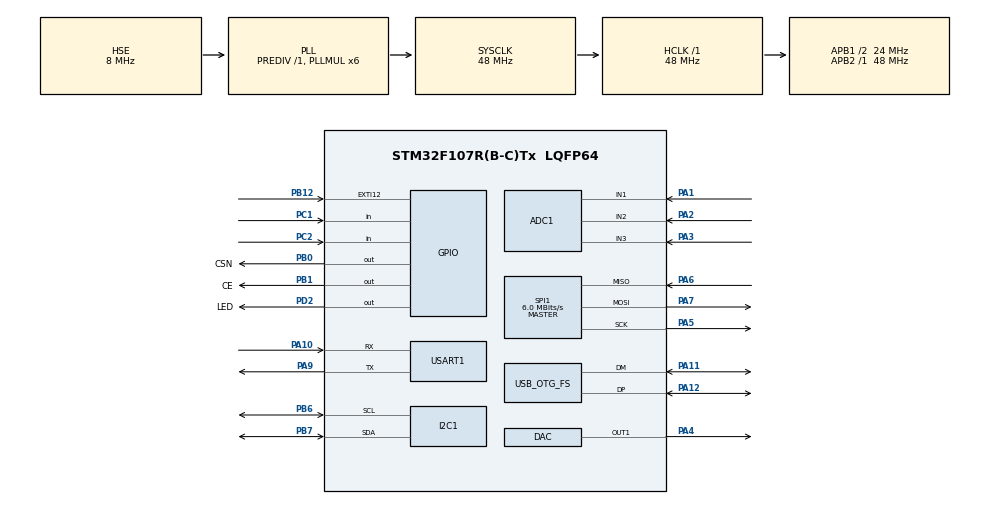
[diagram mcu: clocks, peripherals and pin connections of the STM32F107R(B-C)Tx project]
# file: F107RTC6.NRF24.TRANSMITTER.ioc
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ADC1.Channel-0\#ChannelRegularConversion=ADC_CHANNEL_1
ADC1.Channel-1\#ChannelRegularConversion=ADC_CHANNEL_2
ADC1.Channel-2\#ChannelRegularConversion=ADC_CHANNEL_3
ADC1.ContinuousConvMode=ENABLE
ADC1.DataAlign=ADC_DATAALIGN_RIGHT
ADC1.NbrOfConversion=3
ADC1.NbrOfConversionFlag=1
ADC1.Rank-0\#ChannelRegularConversion=1
ADC1.Rank-1\#ChannelRegularConversion=2
ADC1.Rank-2\#ChannelRegularConversion=3
ADC1.SamplingTime-0\#ChannelRegularConversion=ADC_SAMPLETIME_1CYCLE_5
ADC1.SamplingTime-1\#ChannelRegularConversion=ADC_SAMPLETIME_1CYCLE_5
ADC1.SamplingTime-2\#ChannelRegularConversion=ADC_SAMPLETIME_1CYCLE_5
ADC1.master=1
Dma.ADC1.0.Direction=DMA_PERIPH_TO_MEMORY
Dma.ADC1.0.Instance=DMA1_Channel1
Dma.ADC1.0.MemDataAlignment=DMA_MDATAALIGN_HALFWORD
Dma.ADC1.0.MemInc=DMA_MINC_ENABLE
Dma.ADC1.0.Mode=DMA_CIRCULAR
Dma.ADC1.0.PeriphDataAlignment=DMA_PDATAALIGN_HALFWORD
Dma.ADC1.0.PeriphInc=DMA_PINC_DISABLE
Dma.ADC1.0.Priority=DMA_PRIORITY_LOW
Dma.Request0=ADC1
Mcu.Family=STM32F1
Mcu.Name=STM32F107R(B-C)Tx
Mcu.Package=LQFP64
NVIC.ADC1_2_IRQn=true\:1\:0\:true\:false\:true\:true\:true\:true
NVIC.DMA1_Channel1_IRQn=true\:0\:0\:false\:false\:true\:false\:true\:true
NVIC.OTG_FS_IRQn=true\:0\:0\:false\:false\:true\:false\:true\:true
NVIC.PriorityGroup=NVIC_PRIORITYGROUP_4
NVIC.SPI1_IRQn=true\:0\:0\:false\:false\:true\:true\:true\:true
NVIC.TIM1_UP_IRQn=true\:15\:0\:false\:false\:true\:false\:true\:true
NVIC.TimeBase=TIM1_UP_IRQn
NVIC.TimeBaseIP=TIM1
NVIC.USART1_IRQn=true\:0\:0\:false\:false\:true\:true\:true\:true
PA1.Signal=ADCx_IN1
PA10.Mode=Asynchronous
PA10.Signal=USART1_RX
PA11.Mode=Device_Only
PA11.Signal=USB_OTG_FS_DM
PA12.Mode=Device_Only
PA12.Signal=USB_OTG_FS_DP
PA13.Mode=Serial_Wire
PA13.Signal=SYS_JTMS-SWDIO
PA14.Mode=Serial_Wire
PA14.Signal=SYS_JTCK-SWCLK
PA2.Signal=ADCx_IN2
PA3.Signal=ADCx_IN3
PA4.Signal=COMP_DAC1_group
PA5.Mode=Full_Duplex_Master
PA5.Signal=SPI1_SCK
PA6.Mode=Full_Duplex_Master
PA6.Signal=SPI1_MISO
PA7.Mode=Full_Duplex_Master
PA7.Signal=SPI1_MOSI
PA9.Mode=Asynchronous
PA9.Signal=USART1_TX
PB0.GPIO_Label=CSN
PB0.GPIO_Speed=GPIO_SPEED_FREQ_HIGH
PB0.Signal=GPIO_Output
PB1.GPIO_Label=CE
PB1.GPIO_Speed=GPIO_SPEED_FREQ_HIGH
PB1.Signal=GPIO_Output
PB12.GPIO_ModeDefaultEXTI=GPIO_MODE_IT_FALLING
PB12.Signal=GPXTI12
PB6.Mode=I2C
PB6.Signal=I2C1_SCL
PB7.Mode=I2C
PB7.Signal=I2C1_SDA
PC1.GPIO_PuPd=GPIO_PULLUP
PC1.Signal=GPIO_Input
PC14-OSC32_IN.Mode=LSE-External-Oscillator
PC14-OSC32_IN.Signal=RCC_OSC32_IN
PC15-OSC32_OUT.Mode=LSE-External-Oscillator
PC15-OSC32_OUT.Signal=RCC_OSC32_OUT
PC2.GPIO_PuPd=GPIO_PULLUP
PC2.Signal=GPIO_Input
PD0-OSC_IN.Mode=HSE-External-Oscillator
PD0-OSC_IN.Signal=RCC_OSC_IN
PD1-OSC_OUT.Mode=HSE-External-Oscillator
PD1-OSC_OUT.Signal=RCC_OSC_OUT
PD2.GPIO_Label=LED
PD2.PinState=GPIO_PIN_SET
PD2.Signal=GPIO_Output
ProjectManager.HeapSize=0x200
ProjectManager.StackSize=0x400
ProjectManager.TargetToolchain=STM32CubeIDE
RCC.ADCPresc=RCC_ADCPCLK2_DIV4
RCC.AHBFreq_Value=48000000
RCC.APB1CLKDivider=RCC_HCLK_DIV2
RCC.APB1Freq_Value=24000000
RCC.APB1TimFreq_Value=48000000
RCC.APB2Freq_Value=48000000
RCC.APB2TimFreq_Value=48000000
RCC.HCLKFreq_Value=48000000
RCC.PLLMUL=RCC_PLL_MUL6
RCC.PLLSourceVirtual=RCC_PLLSOURCE_HSE
RCC.SYSCLKFreq_VALUE=48000000
RCC.SYSCLKSource=RCC_SYSCLKSOURCE_PLLCLK
RCC.USBFreq_Value=48000000
RCC.USBPrescaler=RCC_USBCLKSOURCE_PLL_DIV2
SH.ADCx_IN1.0=ADC1_IN1,IN1
SH.ADCx_IN2.0=ADC1_IN2,IN2
SH.ADCx_IN3.0=ADC1_IN3,IN3
SH.COMP_DAC1_group.0=DAC_OUT1,DAC_OUT1
SPI1.BaudRatePrescaler=SPI_BAUDRATEPRESCALER_8
SPI1.CalculateBaudRate=6.0 MBits/s
SPI1.Direction=SPI_DIRECTION_2LINES
SPI1.Mode=SPI_MODE_MASTER
SPI1.VirtualType=VM_MASTER
USART1.VirtualMode=VM_ASYNC
USB_DEVICE.CLASS_NAME_FS=CDC
USB_DEVICE.USBD_DEBUG_LEVEL=3
USB_DEVICE.VirtualMode=Cdc
USB_DEVICE.VirtualModeFS=Cdc_FS
USB_OTG_FS.VirtualMode=Device_Only
VP_SYS_VS_tim1.Mode=TIM1
VP_USB_DEVICE_VS_USB_DEVICE_CDC_FS.Mode=CDC_FS
board=custom

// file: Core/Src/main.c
/* USER CODE BEGIN Header */
/**
  ******************************************************************************
  * @file           : main.c
  * @brief          : Main program body
  ******************************************************************************
  * @attention
  *
  * Copyright (c) 2025 STMicroelectronics.
  * All rights reserved.
  *
  * This software is licensed under terms that can be found in the LICENSE file
  * in the root directory of this software component.
  * If no LICENSE file comes with this software, it is provided AS-IS.
  *
  ******************************************************************************
  */
/* USER CODE END Header */
#include "main.h"
#include "usb_device.h"

/* USER CODE BEGIN Includes */
#include <string.h>
#include "NRF24.h"
#include "NRF24_reg_addresses.h"
#include <stdio.h>
/* USER CODE END Includes */

ADC_HandleTypeDef hadc1;
DMA_HandleTypeDef hdma_adc1;

DAC_HandleTypeDef hdac;

I2C_HandleTypeDef hi2c1;

SPI_HandleTypeDef hspi1;

UART_HandleTypeDef huart1;

void SystemClock_Config(void);
static void MX_GPIO_Init(void);
static void MX_DMA_Init(void);
static void MX_SPI1_Init(void);
static void MX_USART1_UART_Init(void);
static void MX_ADC1_Init(void);
static void MX_I2C1_Init(void);
static void MX_DAC_Init(void);

/* USER CODE BEGIN 0 */
#define TR_

#define PLD_S 2 //payload size should be equal to ack_payload size if DPL is not enabled

uint8_t tx_addr[5] = {0x45, 0x55, 0x67, 0x10, 0x21};

uint16_t data = 0;

uint8_t tx_ack_pld[PLD_S];

volatile uint8_t irq = 0;

uint8_t dataT[PLD_S];
/* USER CODE END 0 */

int main(void)
{

  /* MCU Configuration--------------------------------------------------------*/

  /* Reset of all peripherals, Initializes the Flash interface and the Systick. */
  HAL_Init();

  /* Configure the system clock */
  SystemClock_Config();

  /* Initialize all configured peripherals */
  MX_GPIO_Init();
  MX_DMA_Init();
  MX_SPI1_Init();
  MX_USART1_UART_Init();
  MX_ADC1_Init();
  MX_I2C1_Init();
  MX_USB_DEVICE_Init();
  MX_DAC_Init();
  /* USER CODE BEGIN 2 */
  csn_high();

  HAL_Delay(5);

  ce_low();

  nrf24_init();
  nrf24_pwr_up(); // function that sets CONFIG |= (1 << PWR_UP)

#ifndef TR_
  nrf24_listen();
#else
  nrf24_stop_listen();
#endif

  nrf24_auto_ack_all(auto_ack);
  nrf24_en_ack_pld(enable);
  nrf24_en_dyn_ack(disable);
  nrf24_dpl(disable);

  nrf24_set_crc(no_crc, _1byte);

  nrf24_tx_pwr(_0dbm);
  nrf24_data_rate(_250kbps);
  nrf24_set_channel(83);
  nrf24_set_addr_width(5);

  nrf24_set_rx_dpl(0, disable);
  nrf24_set_rx_dpl(1, disable);
  nrf24_set_rx_dpl(2, disable);
  nrf24_set_rx_dpl(3, disable);
  nrf24_set_rx_dpl(4, disable);
  nrf24_set_rx_dpl(5, disable);

  nrf24_pipe_pld_size(0, PLD_S);

  nrf24_auto_retr_delay(4);
  nrf24_auto_retr_limit(10);

  nrf24_open_tx_pipe(tx_addr);
  nrf24_open_rx_pipe(0, tx_addr);

  ce_high();

  /* USER CODE END 2 */

  /* Infinite loop */
  /* USER CODE BEGIN WHILE */
  while (1)
  {

	HAL_ADC_Start(&hadc1);

	if(HAL_ADC_PollForConversion(&hadc1, 100) == 0){
		data = HAL_ADC_GetValue(&hadc1);
	}

	HAL_ADC_Stop(&hadc1);

	nrf24_type_to_uint8_t(data, dataT, sizeof(data));

	uint8_t val = nrf24_transmit(dataT, sizeof(dataT));

	if(irq == 1){
		uint8_t stat = nrf24_r_status();

		if(stat & (1 << TX_DS)){
			HAL_GPIO_TogglePin(GPIOD, GPIO_PIN_2);
			nrf24_receive(tx_ack_pld, sizeof(tx_ack_pld));
		}else if(stat & (1 << MAX_RT)){
			nrf24_flush_tx();
			nrf24_clear_rx_dr();
		}
		irq = 0;
	}

	//char tmp[30];
	//sprintf(tmp, "| val= %d | \r\n", nrf24_r_status());

	char tmp1[32];
	sprintf(tmp1, "| ack= %s | \r\n", tx_ack_pld);

	//HAL_UART_Transmit(&huart1, (uint8_t*)tmp, strlen(tmp), 100);
	HAL_UART_Transmit(&huart1, (uint8_t*)tmp1, strlen(tmp1), 200);

	for(uint8_t i = 0; i < sizeof(tx_ack_pld); i++){
		tx_ack_pld[i] = 0;
	}

	HAL_Delay(2);
    /* USER CODE END WHILE */

  }
}

void SystemClock_Config(void)
{
  RCC_OscInitTypeDef RCC_OscInitStruct = {0};
  RCC_ClkInitTypeDef RCC_ClkInitStruct = {0};
  RCC_PeriphCLKInitTypeDef PeriphClkInit = {0};

  /** Initializes the RCC Oscillators according to the specified parameters
  * in the RCC_OscInitTypeDef structure.
  */
  RCC_OscInitStruct.OscillatorType = RCC_OSCILLATORTYPE_HSE;
  RCC_OscInitStruct.HSEState = RCC_HSE_ON;
  RCC_OscInitStruct.HSEPredivValue = RCC_HSE_PREDIV_DIV1;
  RCC_OscInitStruct.HSIState = RCC_HSI_ON;
  RCC_OscInitStruct.Prediv1Source = RCC_PREDIV1_SOURCE_HSE;
  RCC_OscInitStruct.PLL.PLLState = RCC_PLL_ON;
  RCC_OscInitStruct.PLL.PLLSource = RCC_PLLSOURCE_HSE;
  RCC_OscInitStruct.PLL.PLLMUL = RCC_PLL_MUL6;
  RCC_OscInitStruct.PLL2.PLL2State = RCC_PLL_NONE;
  if (HAL_RCC_OscConfig(&RCC_OscInitStruct) != HAL_OK)
  {
    Error_Handler();
  }

  /** Initializes the CPU, AHB and APB buses clocks
  */
  RCC_ClkInitStruct.ClockType = RCC_CLOCKTYPE_HCLK|RCC_CLOCKTYPE_SYSCLK
                              |RCC_CLOCKTYPE_PCLK1|RCC_CLOCKTYPE_PCLK2;
  RCC_ClkInitStruct.SYSCLKSource = RCC_SYSCLKSOURCE_PLLCLK;
  RCC_ClkInitStruct.AHBCLKDivider = RCC_SYSCLK_DIV1;
  RCC_ClkInitStruct.APB1CLKDivider = RCC_HCLK_DIV2;
  RCC_ClkInitStruct.APB2CLKDivider = RCC_HCLK_DIV1;

  if (HAL_RCC_ClockConfig(&RCC_ClkInitStruct, FLASH_LATENCY_1) != HAL_OK)
  {
    Error_Handler();
  }
  PeriphClkInit.PeriphClockSelection = RCC_PERIPHCLK_ADC|RCC_PERIPHCLK_USB;
  PeriphClkInit.AdcClockSelection = RCC_ADCPCLK2_DIV4;
  PeriphClkInit.UsbClockSelection = RCC_USBCLKSOURCE_PLL_DIV2;
  if (HAL_RCCEx_PeriphCLKConfig(&PeriphClkInit) != HAL_OK)
  {
    Error_Handler();
  }

  /** Configure the Systick interrupt time
  */
  __HAL_RCC_PLLI2S_ENABLE();
}

static void MX_ADC1_Init(void)
{

  ADC_ChannelConfTypeDef sConfig = {0};

  /** Common config
  */
  hadc1.Instance = ADC1;
  hadc1.Init.ScanConvMode = ADC_SCAN_ENABLE;
  hadc1.Init.ContinuousConvMode = ENABLE;
  hadc1.Init.DiscontinuousConvMode = DISABLE;
  hadc1.Init.ExternalTrigConv = ADC_SOFTWARE_START;
  hadc1.Init.DataAlign = ADC_DATAALIGN_RIGHT;
  hadc1.Init.NbrOfConversion = 3;
  if (HAL_ADC_Init(&hadc1) != HAL_OK)
  {
    Error_Handler();
  }

  /** Configure Regular Channel
  */
  sConfig.Channel = ADC_CHANNEL_1;
  sConfig.Rank = ADC_REGULAR_RANK_1;
  sConfig.SamplingTime = ADC_SAMPLETIME_1CYCLE_5;
  if (HAL_ADC_ConfigChannel(&hadc1, &sConfig) != HAL_OK)
  {
    Error_Handler();
  }

  /** Configure Regular Channel
  */
  sConfig.Channel = ADC_CHANNEL_2;
  sConfig.Rank = ADC_REGULAR_RANK_2;
  if (HAL_ADC_ConfigChannel(&hadc1, &sConfig) != HAL_OK)
  {
    Error_Handler();
  }

  /** Configure Regular Channel
  */
  sConfig.Channel = ADC_CHANNEL_3;
  sConfig.Rank = ADC_REGULAR_RANK_3;
  if (HAL_ADC_ConfigChannel(&hadc1, &sConfig) != HAL_OK)
  {
    Error_Handler();
  }

}

static void MX_DAC_Init(void)
{

  DAC_ChannelConfTypeDef sConfig = {0};

  /** DAC Initialization
  */
  hdac.Instance = DAC;
  if (HAL_DAC_Init(&hdac) != HAL_OK)
  {
    Error_Handler();
  }

  /** DAC channel OUT1 config
  */
  sConfig.DAC_Trigger = DAC_TRIGGER_NONE;
  sConfig.DAC_OutputBuffer = DAC_OUTPUTBUFFER_ENABLE;
  if (HAL_DAC_ConfigChannel(&hdac, &sConfig, DAC_CHANNEL_1) != HAL_OK)
  {
    Error_Handler();
  }

}

static void MX_I2C1_Init(void)
{

  hi2c1.Instance = I2C1;
  hi2c1.Init.ClockSpeed = 100000;
  hi2c1.Init.DutyCycle = I2C_DUTYCYCLE_2;
  hi2c1.Init.OwnAddress1 = 0;
  hi2c1.Init.AddressingMode = I2C_ADDRESSINGMODE_7BIT;
  hi2c1.Init.DualAddressMode = I2C_DUALADDRESS_DISABLE;
  hi2c1.Init.OwnAddress2 = 0;
  hi2c1.Init.GeneralCallMode = I2C_GENERALCALL_DISABLE;
  hi2c1.Init.NoStretchMode = I2C_NOSTRETCH_DISABLE;
  if (HAL_I2C_Init(&hi2c1) != HAL_OK)
  {
    Error_Handler();
  }

}

static void MX_SPI1_Init(void)
{

  /* SPI1 parameter configuration*/
  hspi1.Instance = SPI1;
  hspi1.Init.Mode = SPI_MODE_MASTER;
  hspi1.Init.Direction = SPI_DIRECTION_2LINES;
  hspi1.Init.DataSize = SPI_DATASIZE_8BIT;
  hspi1.Init.CLKPolarity = SPI_POLARITY_LOW;
  hspi1.Init.CLKPhase = SPI_PHASE_1EDGE;
  hspi1.Init.NSS = SPI_NSS_SOFT;
  hspi1.Init.BaudRatePrescaler = SPI_BAUDRATEPRESCALER_8;
  hspi1.Init.FirstBit = SPI_FIRSTBIT_MSB;
  hspi1.Init.TIMode = SPI_TIMODE_DISABLE;
  hspi1.Init.CRCCalculation = SPI_CRCCALCULATION_DISABLE;
  hspi1.Init.CRCPolynomial = 10;
  if (HAL_SPI_Init(&hspi1) != HAL_OK)
  {
    Error_Handler();
  }

}

static void MX_USART1_UART_Init(void)
{

  huart1.Instance = USART1;
  huart1.Init.BaudRate = 115200;
  huart1.Init.WordLength = UART_WORDLENGTH_8B;
  huart1.Init.StopBits = UART_STOPBITS_1;
  huart1.Init.Parity = UART_PARITY_NONE;
  huart1.Init.Mode = UART_MODE_TX_RX;
  huart1.Init.HwFlowCtl = UART_HWCONTROL_NONE;
  huart1.Init.OverSampling = UART_OVERSAMPLING_16;
  if (HAL_UART_Init(&huart1) != HAL_OK)
  {
    Error_Handler();
  }

}

static void MX_DMA_Init(void)
{

  /* DMA controller clock enable */
  __HAL_RCC_DMA1_CLK_ENABLE();

  /* DMA interrupt init */
  /* DMA1_Channel1_IRQn interrupt configuration */
  HAL_NVIC_SetPriority(DMA1_Channel1_IRQn, 0, 0);
  HAL_NVIC_EnableIRQ(DMA1_Channel1_IRQn);

}

static void MX_GPIO_Init(void)
{
  GPIO_InitTypeDef GPIO_InitStruct = {0};

  /* GPIO Ports Clock Enable */
  __HAL_RCC_GPIOC_CLK_ENABLE();
  __HAL_RCC_GPIOD_CLK_ENABLE();
  __HAL_RCC_GPIOA_CLK_ENABLE();
  __HAL_RCC_GPIOB_CLK_ENABLE();

  /*Configure GPIO pin Output Level */
  HAL_GPIO_WritePin(GPIOB, CSN_Pin|CE_Pin, GPIO_PIN_RESET);

  /*Configure GPIO pin Output Level */
  HAL_GPIO_WritePin(LED_GPIO_Port, LED_Pin, GPIO_PIN_SET);

  /*Configure GPIO pins : PC1 PC2 */
  GPIO_InitStruct.Pin = GPIO_PIN_1|GPIO_PIN_2;
  GPIO_InitStruct.Mode = GPIO_MODE_INPUT;
  GPIO_InitStruct.Pull = GPIO_PULLUP;
  HAL_GPIO_Init(GPIOC, &GPIO_InitStruct);

  /*Configure GPIO pins : CSN_Pin CE_Pin */
  GPIO_InitStruct.Pin = CSN_Pin|CE_Pin;
  GPIO_InitStruct.Mode = GPIO_MODE_OUTPUT_PP;
  GPIO_InitStruct.Pull = GPIO_NOPULL;
  GPIO_InitStruct.Speed = GPIO_SPEED_FREQ_HIGH;
  HAL_GPIO_Init(GPIOB, &GPIO_InitStruct);

  /*Configure GPIO pin : PB12 */
  GPIO_InitStruct.Pin = GPIO_PIN_12;
  GPIO_InitStruct.Mode = GPIO_MODE_IT_FALLING;
  GPIO_InitStruct.Pull = GPIO_NOPULL;
  HAL_GPIO_Init(GPIOB, &GPIO_InitStruct);

  /*Configure GPIO pin : LED_Pin */
  GPIO_InitStruct.Pin = LED_Pin;
  GPIO_InitStruct.Mode = GPIO_MODE_OUTPUT_PP;
  GPIO_InitStruct.Pull = GPIO_NOPULL;
  GPIO_InitStruct.Speed = GPIO_SPEED_FREQ_LOW;
  HAL_GPIO_Init(LED_GPIO_Port, &GPIO_InitStruct);

}

void HAL_TIM_PeriodElapsedCallback(TIM_HandleTypeDef *htim)
{
  if (htim->Instance == TIM1)
  {
    HAL_IncTick();
  }
}

void Error_Handler(void)
{
  __disable_irq();
  while (1)
  {
  }
}
